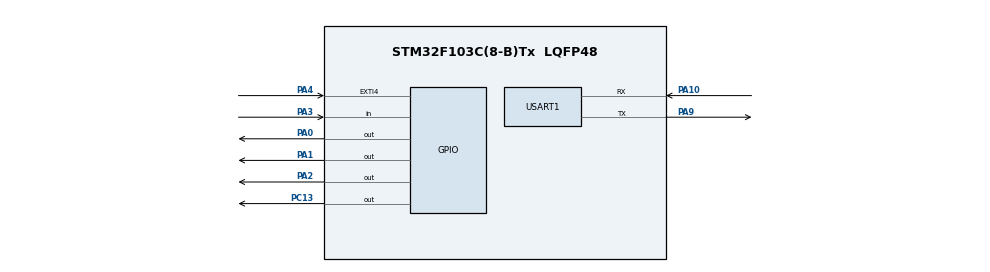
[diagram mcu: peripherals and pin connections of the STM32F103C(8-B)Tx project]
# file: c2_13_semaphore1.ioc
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Mcu.Family=STM32F1
Mcu.Name=STM32F103C(8-B)Tx
Mcu.Package=LQFP48
NVIC.EXTI4_IRQn=true\:0\:0\:false\:false\:true\:true\:true\:true
NVIC.PriorityGroup=NVIC_PRIORITYGROUP_4
NVIC.TIM4_IRQn=true\:15\:0\:false\:false\:true\:false\:true\:true
NVIC.TimeBase=TIM4_IRQn
NVIC.TimeBaseIP=TIM4
NVIC.USART1_IRQn=true\:6\:0\:true\:false\:true\:true\:true\:true
PA0-WKUP.Signal=GPIO_Output
PA1.Signal=GPIO_Output
PA10.Mode=Asynchronous
PA10.Signal=USART1_RX
PA2.Signal=GPIO_Output
PA3.Signal=GPIO_Input
PA4.Signal=GPXTI4
PA9.Mode=Asynchronous
PA9.Signal=USART1_TX
PC13-TAMPER-RTC.Signal=GPIO_Output
ProjectManager.HeapSize=0x200
ProjectManager.StackSize=0x400
ProjectManager.TargetToolchain=STM32CubeIDE
RCC.APB1Freq_Value=8000000
RCC.APB2Freq_Value=8000000
USART1.VirtualMode=VM_ASYNC
VP_SYS_VS_ND.Mode=No_Debug
VP_SYS_VS_tim4.Mode=TIM4
board=custom

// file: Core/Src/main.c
/* USER CODE BEGIN Header */
/**
  ******************************************************************************
  * @file           : main.c
  * @brief          : Main program body
  ******************************************************************************
  * @attention
  *
  * Copyright (c) 2025 STMicroelectronics.
  * All rights reserved.
  *
  * This software is licensed under terms that can be found in the LICENSE file
  * in the root directory of this software component.
  * If no LICENSE file comes with this software, it is provided AS-IS.
  *
  ******************************************************************************
  */
/* USER CODE END Header */
#include "main.h"

/* USER CODE BEGIN Includes */
#include "FreeRTOS.h"
#include "task.h"
//#include "queue.h"
#include "semphr.h"
/* USER CODE END Includes */

UART_HandleTypeDef huart1;

void SystemClock_Config(void);
static void MX_GPIO_Init(void);
static void MX_USART1_UART_Init(void);
/* USER CODE BEGIN PFP */
void UartSend_handler(void *pvparameter);
void Print1_handler(void *pvparameter);
void Print2_handler(void *pvparameter);
/* USER CODE END PFP */

/* USER CODE BEGIN 0 */
TaskHandle_t UartSend_handle,Print1_handle,Print2_handle;
//QueueHandle_t q_txBuffer ;
SemaphoreHandle_t s_work;
/* USER CODE END 0 */

int main(void)
{

  /* USER CODE BEGIN 1 */
	BaseType_t status;
  /* USER CODE END 1 */

  /* MCU Configuration--------------------------------------------------------*/

  /* Reset of all peripherals, Initializes the Flash interface and the Systick. */
  HAL_Init();

  /* Configure the system clock */
  SystemClock_Config();

  /* Initialize all configured peripherals */
  MX_GPIO_Init();
  MX_USART1_UART_Init();
  HAL_GPIO_WritePin(GPIOC, GPIO_PIN_13, 1);
  HAL_GPIO_WritePin(GPIOC, GPIO_PIN_13, 0);
  /* USER CODE BEGIN 2 */
  status = xTaskCreate(UartSend_handler, "UartMaster", 200, NULL, 2, &UartSend_handle);
  configASSERT(status == pdPASS);

  status = xTaskCreate(Print1_handler, "Print1",200, "Print1", 1, &Print1_handle);
  configASSERT(status == pdPASS);

  status = xTaskCreate(Print2_handler, "Print2",200, "Print2", 1, &Print2_handle);
  configASSERT(status == pdPASS);

//  q_txBuffer=xQueueCreate(20,1);
//  configASSERT( q_txBuffer != NULL );

  vSemaphoreCreateBinary(s_work);
  HAL_UART_Transmit(&huart1, "Scheduled\n\r", 11, 1000);

  vTaskStartScheduler();
  /* USER CODE END 2 */

  /* Infinite loop */
  while (1)
  {

  }
}

void SystemClock_Config(void)
{
  RCC_OscInitTypeDef RCC_OscInitStruct = {0};
  RCC_ClkInitTypeDef RCC_ClkInitStruct = {0};

  /** Initializes the RCC Oscillators according to the specified parameters
  * in the RCC_OscInitTypeDef structure.
  */
  RCC_OscInitStruct.OscillatorType = RCC_OSCILLATORTYPE_HSI;
  RCC_OscInitStruct.HSIState = RCC_HSI_ON;
  RCC_OscInitStruct.HSICalibrationValue = RCC_HSICALIBRATION_DEFAULT;
  RCC_OscInitStruct.PLL.PLLState = RCC_PLL_NONE;
  if (HAL_RCC_OscConfig(&RCC_OscInitStruct) != HAL_OK)
  {
    Error_Handler();
  }

  /** Initializes the CPU, AHB and APB buses clocks
  */
  RCC_ClkInitStruct.ClockType = RCC_CLOCKTYPE_HCLK|RCC_CLOCKTYPE_SYSCLK
                              |RCC_CLOCKTYPE_PCLK1|RCC_CLOCKTYPE_PCLK2;
  RCC_ClkInitStruct.SYSCLKSource = RCC_SYSCLKSOURCE_HSI;
  RCC_ClkInitStruct.AHBCLKDivider = RCC_SYSCLK_DIV1;
  RCC_ClkInitStruct.APB1CLKDivider = RCC_HCLK_DIV1;
  RCC_ClkInitStruct.APB2CLKDivider = RCC_HCLK_DIV1;

  if (HAL_RCC_ClockConfig(&RCC_ClkInitStruct, FLASH_LATENCY_0) != HAL_OK)
  {
    Error_Handler();
  }
}

static void MX_USART1_UART_Init(void)
{

  huart1.Instance = USART1;
  huart1.Init.BaudRate = 115200;
  huart1.Init.WordLength = UART_WORDLENGTH_8B;
  huart1.Init.StopBits = UART_STOPBITS_1;
  huart1.Init.Parity = UART_PARITY_NONE;
  huart1.Init.Mode = UART_MODE_TX_RX;
  huart1.Init.HwFlowCtl = UART_HWCONTROL_NONE;
  huart1.Init.OverSampling = UART_OVERSAMPLING_16;
  if (HAL_UART_Init(&huart1) != HAL_OK)
  {
    Error_Handler();
  }

}

static void MX_GPIO_Init(void)
{
  GPIO_InitTypeDef GPIO_InitStruct = {0};

  /* GPIO Ports Clock Enable */
  __HAL_RCC_GPIOC_CLK_ENABLE();
  __HAL_RCC_GPIOA_CLK_ENABLE();

  /*Configure GPIO pin Output Level */
  HAL_GPIO_WritePin(GPIOC, GPIO_PIN_13, GPIO_PIN_RESET);

  /*Configure GPIO pin Output Level */
  HAL_GPIO_WritePin(GPIOA, GPIO_PIN_0|GPIO_PIN_1|GPIO_PIN_2, GPIO_PIN_RESET);

  /*Configure GPIO pin : PC13 */
  GPIO_InitStruct.Pin = GPIO_PIN_13;
  GPIO_InitStruct.Mode = GPIO_MODE_OUTPUT_PP;
  GPIO_InitStruct.Pull = GPIO_NOPULL;
  GPIO_InitStruct.Speed = GPIO_SPEED_FREQ_LOW;
  HAL_GPIO_Init(GPIOC, &GPIO_InitStruct);

  /*Configure GPIO pins : PA0 PA1 PA2 */
  GPIO_InitStruct.Pin = GPIO_PIN_0|GPIO_PIN_1|GPIO_PIN_2;
  GPIO_InitStruct.Mode = GPIO_MODE_OUTPUT_PP;
  GPIO_InitStruct.Pull = GPIO_NOPULL;
  GPIO_InitStruct.Speed = GPIO_SPEED_FREQ_LOW;
  HAL_GPIO_Init(GPIOA, &GPIO_InitStruct);

  /*Configure GPIO pin : PA3 */
  GPIO_InitStruct.Pin = GPIO_PIN_3;
  GPIO_InitStruct.Mode = GPIO_MODE_INPUT;
  GPIO_InitStruct.Pull = GPIO_NOPULL;
  HAL_GPIO_Init(GPIOA, &GPIO_InitStruct);

  /*Configure GPIO pin : PA4 */
  GPIO_InitStruct.Pin = GPIO_PIN_4;
  GPIO_InitStruct.Mode = GPIO_MODE_IT_RISING;
  GPIO_InitStruct.Pull = GPIO_NOPULL;
  HAL_GPIO_Init(GPIOA, &GPIO_InitStruct);

  /* EXTI interrupt init*/
  HAL_NVIC_SetPriority(EXTI4_IRQn, 0, 0);
  HAL_NVIC_EnableIRQ(EXTI4_IRQn);

}

/* USER CODE BEGIN 4 */

void UartSend_handler(void *pvparameter)
{

	while(1){

		xSemaphoreGive(s_work);

		vTaskDelay(pdMS_TO_TICKS(1000));
	}
}

void Print1_handler(void *pvparameter)
{
	uint8_t *data =(uint8_t*) pvparameter ;
	while(1){

		xSemaphoreTake(s_work,portMAX_DELAY);

		do{
			HAL_UART_Transmit(&huart1, data, 1, 1000);
			data++;
		}while(*data != '\0');
		data =(uint8_t*) pvparameter ;
		//xSemaphoreGive(s_work);
	}

}

void Print2_handler(void *pvparameter)
{
	uint8_t *data =(uint8_t*) pvparameter ;
	while(1){
		xSemaphoreTake(s_work,portMAX_DELAY);
		do{
			HAL_UART_Transmit(&huart1, data, 1, 1000);
			data++;
		}while(*data != '\0');
		data =(uint8_t*) pvparameter ;
		//xSemaphoreGive(s_work);
	}
}
/* USER CODE END 4 */

void HAL_TIM_PeriodElapsedCallback(TIM_HandleTypeDef *htim)
{
  if (htim->Instance == TIM4)
  {
    HAL_IncTick();
  }
}

void Error_Handler(void)
{
  __disable_irq();
  while (1)
  {
  }
}
